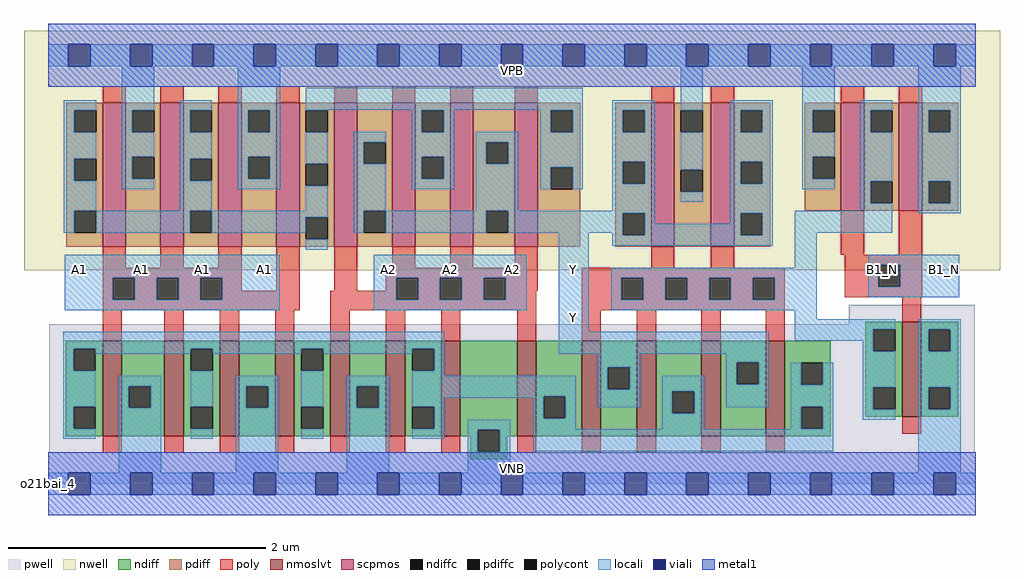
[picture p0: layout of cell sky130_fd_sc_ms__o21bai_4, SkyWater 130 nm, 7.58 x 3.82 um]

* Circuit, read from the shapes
.subckt sky130_fd_sc_ms__o21bai_4 A1 A2 B1_N VGND VNB VPB VPWR Y
XM1 VGND A1 n1 VNB sky130_fd_pr__nfet_01v8_lvt w=0.74 l=0.15 m=4
XM2 VGND A2 n1 VNB sky130_fd_pr__nfet_01v8_lvt w=0.74 l=0.15 m=4
XM3 Y n2 n1 VNB sky130_fd_pr__nfet_01v8_lvt w=0.74 l=0.15 m=4
XM4 VGND B1_N n2 VNB sky130_fd_pr__nfet_01v8_lvt w=0.74 l=0.15
XM5 VPWR A1 n3 VPB sky130_fd_pr__pfet_01v8 w=1.12 l=0.18 m=4
XM6 Y A2 n3 VPB sky130_fd_pr__pfet_01v8 w=1.12 l=0.18 m=4
XM7 VPWR n2 Y VPB sky130_fd_pr__pfet_01v8 w=1.12 l=0.18 m=2
XM8 n2 B1_N VPWR VPB sky130_fd_pr__pfet_01v8 w=0.84 l=0.18 m=2
.ends

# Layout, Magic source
magic
tech sky130A
magscale 1 2
<< nwell >>
rect -38 332 1478 704
<< pwell >>
rect 1243 248 1439 278
rect 1 49 1439 248
rect 0 0 1440 49
<< scpmos >>
rect 84 368 120 592
rect 174 368 210 592
rect 264 368 300 592
rect 354 368 390 592
rect 444 368 480 592
rect 534 368 570 592
rect 624 368 660 592
rect 724 368 760 592
rect 936 368 972 592
rect 1029 368 1065 592
rect 1231 424 1267 592
rect 1321 424 1357 592
<< nmoslvt >>
rect 84 74 114 222
rect 180 74 210 222
rect 266 74 296 222
rect 352 74 382 222
rect 438 74 468 222
rect 524 74 554 222
rect 610 74 640 222
rect 728 74 758 222
rect 828 74 858 222
rect 914 74 944 222
rect 1014 74 1044 222
rect 1114 74 1144 222
rect 1326 104 1356 252
<< ndiff >>
rect 1269 240 1326 252
rect 27 210 84 222
rect 27 176 39 210
rect 73 176 84 210
rect 27 120 84 176
rect 27 86 39 120
rect 73 86 84 120
rect 27 74 84 86
rect 114 152 180 222
rect 114 118 125 152
rect 159 118 180 152
rect 114 74 180 118
rect 210 210 266 222
rect 210 176 221 210
rect 255 176 266 210
rect 210 120 266 176
rect 210 86 221 120
rect 255 86 266 120
rect 210 74 266 86
rect 296 152 352 222
rect 296 118 307 152
rect 341 118 352 152
rect 296 74 352 118
rect 382 210 438 222
rect 382 176 393 210
rect 427 176 438 210
rect 382 120 438 176
rect 382 86 393 120
rect 427 86 438 120
rect 382 74 438 86
rect 468 152 524 222
rect 468 118 479 152
rect 513 118 524 152
rect 468 74 524 118
rect 554 210 610 222
rect 554 176 565 210
rect 599 176 610 210
rect 554 120 610 176
rect 554 86 565 120
rect 599 86 610 120
rect 554 74 610 86
rect 640 84 728 222
rect 640 74 667 84
rect 655 50 667 74
rect 701 74 728 84
rect 758 136 828 222
rect 758 102 769 136
rect 803 102 828 136
rect 758 74 828 102
rect 858 181 914 222
rect 858 147 869 181
rect 903 147 914 181
rect 858 74 914 147
rect 944 144 1014 222
rect 944 110 969 144
rect 1003 110 1014 144
rect 944 74 1014 110
rect 1044 189 1114 222
rect 1044 155 1069 189
rect 1103 155 1114 189
rect 1044 74 1114 155
rect 1144 188 1215 222
rect 1144 154 1169 188
rect 1203 154 1215 188
rect 1144 120 1215 154
rect 1144 86 1169 120
rect 1203 86 1215 120
rect 1269 206 1281 240
rect 1315 206 1326 240
rect 1269 150 1326 206
rect 1269 116 1281 150
rect 1315 116 1326 150
rect 1269 104 1326 116
rect 1356 240 1413 252
rect 1356 206 1367 240
rect 1401 206 1413 240
rect 1356 150 1413 206
rect 1356 116 1367 150
rect 1401 116 1413 150
rect 1356 104 1413 116
rect 1144 74 1215 86
rect 701 50 713 74
rect 655 38 713 50
<< pdiff >>
rect 28 580 84 592
rect 28 546 40 580
rect 74 546 84 580
rect 28 505 84 546
rect 28 471 40 505
rect 74 471 84 505
rect 28 424 84 471
rect 28 390 40 424
rect 74 390 84 424
rect 28 368 84 390
rect 120 580 174 592
rect 120 546 130 580
rect 164 546 174 580
rect 120 508 174 546
rect 120 474 130 508
rect 164 474 174 508
rect 120 368 174 474
rect 210 580 264 592
rect 210 546 220 580
rect 254 546 264 580
rect 210 505 264 546
rect 210 471 220 505
rect 254 471 264 505
rect 210 424 264 471
rect 210 390 220 424
rect 254 390 264 424
rect 210 368 264 390
rect 300 580 354 592
rect 300 546 310 580
rect 344 546 354 580
rect 300 508 354 546
rect 300 474 310 508
rect 344 474 354 508
rect 300 368 354 474
rect 390 580 444 592
rect 390 546 400 580
rect 434 546 444 580
rect 390 497 444 546
rect 390 463 400 497
rect 434 463 444 497
rect 390 414 444 463
rect 390 380 400 414
rect 434 380 444 414
rect 390 368 444 380
rect 480 531 534 592
rect 480 497 490 531
rect 524 497 534 531
rect 480 424 534 497
rect 480 390 490 424
rect 524 390 534 424
rect 480 368 534 390
rect 570 580 624 592
rect 570 546 580 580
rect 614 546 624 580
rect 570 508 624 546
rect 570 474 580 508
rect 614 474 624 508
rect 570 368 624 474
rect 660 531 724 592
rect 660 497 680 531
rect 714 497 724 531
rect 660 424 724 497
rect 660 390 680 424
rect 714 390 724 424
rect 660 368 724 390
rect 760 580 826 592
rect 760 546 780 580
rect 814 546 826 580
rect 760 492 826 546
rect 760 458 780 492
rect 814 458 826 492
rect 760 368 826 458
rect 880 580 936 592
rect 880 546 892 580
rect 926 546 936 580
rect 880 500 936 546
rect 880 466 892 500
rect 926 466 936 500
rect 880 420 936 466
rect 880 386 892 420
rect 926 386 936 420
rect 880 368 936 386
rect 972 580 1029 592
rect 972 546 982 580
rect 1016 546 1029 580
rect 972 488 1029 546
rect 972 454 982 488
rect 1016 454 1029 488
rect 972 368 1029 454
rect 1065 580 1121 592
rect 1065 546 1075 580
rect 1109 546 1121 580
rect 1065 500 1121 546
rect 1065 466 1075 500
rect 1109 466 1121 500
rect 1065 420 1121 466
rect 1175 580 1231 592
rect 1175 546 1187 580
rect 1221 546 1231 580
rect 1175 508 1231 546
rect 1175 474 1187 508
rect 1221 474 1231 508
rect 1175 424 1231 474
rect 1267 580 1321 592
rect 1267 546 1277 580
rect 1311 546 1321 580
rect 1267 470 1321 546
rect 1267 436 1277 470
rect 1311 436 1321 470
rect 1267 424 1321 436
rect 1357 580 1413 592
rect 1357 546 1367 580
rect 1401 546 1413 580
rect 1357 470 1413 546
rect 1357 436 1367 470
rect 1401 436 1413 470
rect 1357 424 1413 436
rect 1065 386 1075 420
rect 1109 386 1121 420
rect 1065 368 1121 386
<< ndiffc >>
rect 39 176 73 210
rect 39 86 73 120
rect 125 118 159 152
rect 221 176 255 210
rect 221 86 255 120
rect 307 118 341 152
rect 393 176 427 210
rect 393 86 427 120
rect 479 118 513 152
rect 565 176 599 210
rect 565 86 599 120
rect 667 50 701 84
rect 769 102 803 136
rect 869 147 903 181
rect 969 110 1003 144
rect 1069 155 1103 189
rect 1169 154 1203 188
rect 1169 86 1203 120
rect 1281 206 1315 240
rect 1281 116 1315 150
rect 1367 206 1401 240
rect 1367 116 1401 150
<< pdiffc >>
rect 40 546 74 580
rect 40 471 74 505
rect 40 390 74 424
rect 130 546 164 580
rect 130 474 164 508
rect 220 546 254 580
rect 220 471 254 505
rect 220 390 254 424
rect 310 546 344 580
rect 310 474 344 508
rect 400 546 434 580
rect 400 463 434 497
rect 400 380 434 414
rect 490 497 524 531
rect 490 390 524 424
rect 580 546 614 580
rect 580 474 614 508
rect 680 497 714 531
rect 680 390 714 424
rect 780 546 814 580
rect 780 458 814 492
rect 892 546 926 580
rect 892 466 926 500
rect 892 386 926 420
rect 982 546 1016 580
rect 982 454 1016 488
rect 1075 546 1109 580
rect 1075 466 1109 500
rect 1187 546 1221 580
rect 1187 474 1221 508
rect 1277 546 1311 580
rect 1277 436 1311 470
rect 1367 546 1401 580
rect 1367 436 1401 470
rect 1075 386 1109 420
<< poly >>
rect 84 592 120 618
rect 174 592 210 618
rect 264 592 300 618
rect 354 592 390 618
rect 444 592 480 618
rect 534 592 570 618
rect 624 592 660 618
rect 724 592 760 618
rect 936 592 972 618
rect 1029 592 1065 618
rect 1231 592 1267 618
rect 1321 592 1357 618
rect 84 336 120 368
rect 174 336 210 368
rect 264 336 300 368
rect 84 320 300 336
rect 84 286 100 320
rect 134 286 168 320
rect 202 286 236 320
rect 270 300 300 320
rect 354 300 390 368
rect 444 300 480 368
rect 534 336 570 368
rect 624 336 660 368
rect 724 336 760 368
rect 936 336 972 368
rect 1029 336 1065 368
rect 1231 356 1267 424
rect 1321 356 1357 424
rect 1237 340 1357 356
rect 524 320 760 336
rect 524 300 540 320
rect 270 286 390 300
rect 84 270 390 286
rect 438 286 540 300
rect 574 286 608 320
rect 642 286 676 320
rect 710 300 760 320
rect 828 320 1144 336
rect 710 286 758 300
rect 438 270 758 286
rect 84 222 114 270
rect 180 222 210 270
rect 266 222 296 270
rect 352 222 382 270
rect 438 222 468 270
rect 524 222 554 270
rect 610 222 640 270
rect 728 222 758 270
rect 828 286 890 320
rect 924 286 958 320
rect 992 286 1026 320
rect 1060 286 1094 320
rect 1128 286 1144 320
rect 1237 306 1289 340
rect 1323 306 1357 340
rect 1237 290 1357 306
rect 828 270 1144 286
rect 828 222 858 270
rect 914 222 944 270
rect 1014 222 1044 270
rect 1114 222 1144 270
rect 1326 252 1356 290
rect 84 48 114 74
rect 180 48 210 74
rect 266 48 296 74
rect 352 48 382 74
rect 438 48 468 74
rect 524 48 554 74
rect 610 48 640 74
rect 1326 78 1356 104
rect 728 48 758 74
rect 828 48 858 74
rect 914 48 944 74
rect 1014 48 1044 74
rect 1114 48 1144 74
<< polycont >>
rect 100 286 134 320
rect 168 286 202 320
rect 236 286 270 320
rect 540 286 574 320
rect 608 286 642 320
rect 676 286 710 320
rect 890 286 924 320
rect 958 286 992 320
rect 1026 286 1060 320
rect 1094 286 1128 320
rect 1289 306 1323 340
<< locali >>
rect 0 649 31 683
rect 65 649 127 683
rect 161 649 223 683
rect 257 649 319 683
rect 353 649 415 683
rect 449 649 511 683
rect 545 649 607 683
rect 641 649 703 683
rect 737 649 799 683
rect 833 649 895 683
rect 929 649 991 683
rect 1025 649 1087 683
rect 1121 649 1183 683
rect 1217 649 1279 683
rect 1313 649 1375 683
rect 1409 649 1440 683
rect 24 580 74 596
rect 24 546 40 580
rect 24 505 74 546
rect 24 471 40 505
rect 24 424 74 471
rect 114 580 164 649
rect 114 546 130 580
rect 114 508 164 546
rect 114 474 130 508
rect 114 458 164 474
rect 204 580 254 596
rect 204 546 220 580
rect 204 505 254 546
rect 204 471 220 505
rect 204 424 254 471
rect 294 580 360 649
rect 294 546 310 580
rect 344 546 360 580
rect 294 508 360 546
rect 294 474 310 508
rect 344 474 360 508
rect 294 458 360 474
rect 400 581 830 615
rect 400 580 434 581
rect 564 580 630 581
rect 400 497 434 546
rect 400 424 434 463
rect 24 390 40 424
rect 74 390 220 424
rect 254 414 434 424
rect 254 390 400 414
rect 474 531 524 547
rect 474 497 490 531
rect 474 424 524 497
rect 564 546 580 580
rect 614 546 630 580
rect 764 580 830 581
rect 564 508 630 546
rect 564 474 580 508
rect 614 474 630 508
rect 564 458 630 474
rect 664 531 730 547
rect 664 497 680 531
rect 714 497 730 531
rect 664 424 730 497
rect 764 546 780 580
rect 814 546 830 580
rect 764 492 830 546
rect 764 458 780 492
rect 814 458 830 492
rect 876 580 942 596
rect 876 546 892 580
rect 926 546 942 580
rect 876 500 942 546
rect 876 466 892 500
rect 926 466 942 500
rect 876 424 942 466
rect 982 580 1016 649
rect 982 488 1016 546
rect 982 438 1016 454
rect 1059 580 1125 596
rect 1059 546 1075 580
rect 1109 546 1125 580
rect 1059 500 1125 546
rect 1059 466 1075 500
rect 1109 466 1125 500
rect 474 390 490 424
rect 524 390 680 424
rect 714 420 942 424
rect 714 390 892 420
rect 400 364 434 380
rect 25 320 359 356
rect 25 286 100 320
rect 134 286 168 320
rect 202 286 236 320
rect 270 286 359 320
rect 25 270 359 286
rect 505 320 743 356
rect 505 286 540 320
rect 574 286 608 320
rect 642 286 676 320
rect 710 286 743 320
rect 505 270 743 286
rect 793 236 839 390
rect 876 386 892 390
rect 926 404 942 420
rect 1059 420 1125 466
rect 1171 580 1221 649
rect 1171 546 1187 580
rect 1171 508 1221 546
rect 1171 474 1187 508
rect 1171 458 1221 474
rect 1261 580 1311 596
rect 1261 546 1277 580
rect 1261 470 1311 546
rect 1261 436 1277 470
rect 1261 424 1311 436
rect 1059 404 1075 420
rect 926 386 1075 404
rect 1109 386 1125 420
rect 876 370 1125 386
rect 1159 390 1311 424
rect 1351 580 1417 649
rect 1351 546 1367 580
rect 1401 546 1417 580
rect 1351 470 1417 546
rect 1351 436 1367 470
rect 1401 436 1417 470
rect 1351 420 1417 436
rect 1159 336 1193 390
rect 874 320 1193 336
rect 874 286 890 320
rect 924 286 958 320
rect 992 286 1026 320
rect 1060 286 1094 320
rect 1128 286 1193 320
rect 1273 340 1415 356
rect 1273 306 1289 340
rect 1323 306 1415 340
rect 1273 290 1415 306
rect 874 270 1193 286
rect 1159 256 1193 270
rect 1159 240 1315 256
rect 23 210 615 236
rect 23 176 39 210
rect 73 202 221 210
rect 23 120 73 176
rect 255 202 393 210
rect 23 86 39 120
rect 23 70 73 86
rect 109 152 175 168
rect 109 118 125 152
rect 159 118 175 152
rect 109 17 175 118
rect 221 120 255 176
rect 427 202 565 210
rect 221 70 255 86
rect 291 152 357 168
rect 291 118 307 152
rect 341 118 357 152
rect 291 17 357 118
rect 393 120 427 176
rect 599 176 615 210
rect 793 202 1119 236
rect 1159 222 1281 240
rect 565 168 615 176
rect 853 181 919 202
rect 393 70 427 86
rect 463 152 529 168
rect 463 118 479 152
rect 513 118 529 152
rect 463 17 529 118
rect 565 136 819 168
rect 565 134 769 136
rect 565 120 615 134
rect 599 86 615 120
rect 753 102 769 134
rect 803 102 819 136
rect 853 147 869 181
rect 903 147 919 181
rect 1053 189 1119 202
rect 853 119 919 147
rect 953 144 1019 168
rect 565 70 615 86
rect 651 84 717 100
rect 651 50 667 84
rect 701 50 717 84
rect 753 85 819 102
rect 953 110 969 144
rect 1003 110 1019 144
rect 1053 155 1069 189
rect 1103 155 1119 189
rect 1265 206 1281 222
rect 1053 119 1119 155
rect 1153 154 1169 188
rect 1203 154 1219 188
rect 1153 120 1219 154
rect 953 85 1019 110
rect 1153 86 1169 120
rect 1203 86 1219 120
rect 1265 150 1315 206
rect 1265 116 1281 150
rect 1265 100 1315 116
rect 1351 240 1417 256
rect 1351 206 1367 240
rect 1401 206 1417 240
rect 1351 150 1417 206
rect 1351 116 1367 150
rect 1401 116 1417 150
rect 1153 85 1219 86
rect 753 51 1219 85
rect 651 17 717 50
rect 1351 17 1417 116
rect 0 -17 31 17
rect 65 -17 127 17
rect 161 -17 223 17
rect 257 -17 319 17
rect 353 -17 415 17
rect 449 -17 511 17
rect 545 -17 607 17
rect 641 -17 703 17
rect 737 -17 799 17
rect 833 -17 895 17
rect 929 -17 991 17
rect 1025 -17 1087 17
rect 1121 -17 1183 17
rect 1217 -17 1279 17
rect 1313 -17 1375 17
rect 1409 -17 1440 17
<< viali >>
rect 31 649 65 683
rect 127 649 161 683
rect 223 649 257 683
rect 319 649 353 683
rect 415 649 449 683
rect 511 649 545 683
rect 607 649 641 683
rect 703 649 737 683
rect 799 649 833 683
rect 895 649 929 683
rect 991 649 1025 683
rect 1087 649 1121 683
rect 1183 649 1217 683
rect 1279 649 1313 683
rect 1375 649 1409 683
rect 31 -17 65 17
rect 127 -17 161 17
rect 223 -17 257 17
rect 319 -17 353 17
rect 415 -17 449 17
rect 511 -17 545 17
rect 607 -17 641 17
rect 703 -17 737 17
rect 799 -17 833 17
rect 895 -17 929 17
rect 991 -17 1025 17
rect 1087 -17 1121 17
rect 1183 -17 1217 17
rect 1279 -17 1313 17
rect 1375 -17 1409 17
<< metal1 >>
rect 0 683 1440 715
rect 0 649 31 683
rect 65 649 127 683
rect 161 649 223 683
rect 257 649 319 683
rect 353 649 415 683
rect 449 649 511 683
rect 545 649 607 683
rect 641 649 703 683
rect 737 649 799 683
rect 833 649 895 683
rect 929 649 991 683
rect 1025 649 1087 683
rect 1121 649 1183 683
rect 1217 649 1279 683
rect 1313 649 1375 683
rect 1409 649 1440 683
rect 0 617 1440 649
rect 0 17 1440 49
rect 0 -17 31 17
rect 65 -17 127 17
rect 161 -17 223 17
rect 257 -17 319 17
rect 353 -17 415 17
rect 449 -17 511 17
rect 545 -17 607 17
rect 641 -17 703 17
rect 737 -17 799 17
rect 833 -17 895 17
rect 929 -17 991 17
rect 1025 -17 1087 17
rect 1121 -17 1183 17
rect 1217 -17 1279 17
rect 1313 -17 1375 17
rect 1409 -17 1440 17
rect 0 -49 1440 -17
<< labels >>
flabel pwell s 0 0 1440 49 0 FreeSans 200 0 0 0 VNB
port 5 nsew ground bidirectional
flabel nwell s 0 617 1440 666 0 FreeSans 200 0 0 0 VPB
port 6 nsew power bidirectional
rlabel comment s 0 0 0 0 4 o21bai_4
flabel metal1 s 0 617 1440 666 0 FreeSans 340 0 0 0 VPWR
port 7 nsew power bidirectional
flabel metal1 s 0 0 1440 49 0 FreeSans 340 0 0 0 VGND
port 4 nsew ground bidirectional
flabel locali s 799 242 833 276 0 FreeSans 340 0 0 0 Y
port 8 nsew signal output
flabel locali s 799 316 833 350 0 FreeSans 340 0 0 0 Y
port 8 nsew signal output
flabel locali s 31 316 65 350 0 FreeSans 340 0 0 0 A1
port 1 nsew signal input
flabel locali s 127 316 161 350 0 FreeSans 340 0 0 0 A1
port 1 nsew signal input
flabel locali s 223 316 257 350 0 FreeSans 340 0 0 0 A1
port 1 nsew signal input
flabel locali s 319 316 353 350 0 FreeSans 340 0 0 0 A1
port 1 nsew signal input
flabel locali s 511 316 545 350 0 FreeSans 340 0 0 0 A2
port 2 nsew signal input
flabel locali s 607 316 641 350 0 FreeSans 340 0 0 0 A2
port 2 nsew signal input
flabel locali s 703 316 737 350 0 FreeSans 340 0 0 0 A2
port 2 nsew signal input
flabel locali s 1279 316 1313 350 0 FreeSans 340 0 0 0 B1_N
port 3 nsew signal input
flabel locali s 1375 316 1409 350 0 FreeSans 340 0 0 0 B1_N
port 3 nsew signal input
<< properties >>
string LEFsite unit
string LEFclass CORE
string FIXED_BBOX 0 0 1440 666
string GDS_FILE $PDKPATH/libs.ref/sky130_fd_sc_ms/gds/sky130_fd_sc_ms.gds
string LEFsymmetry X Y
string GDS_END 3100476
string GDS_START 3088576
<< end >>
